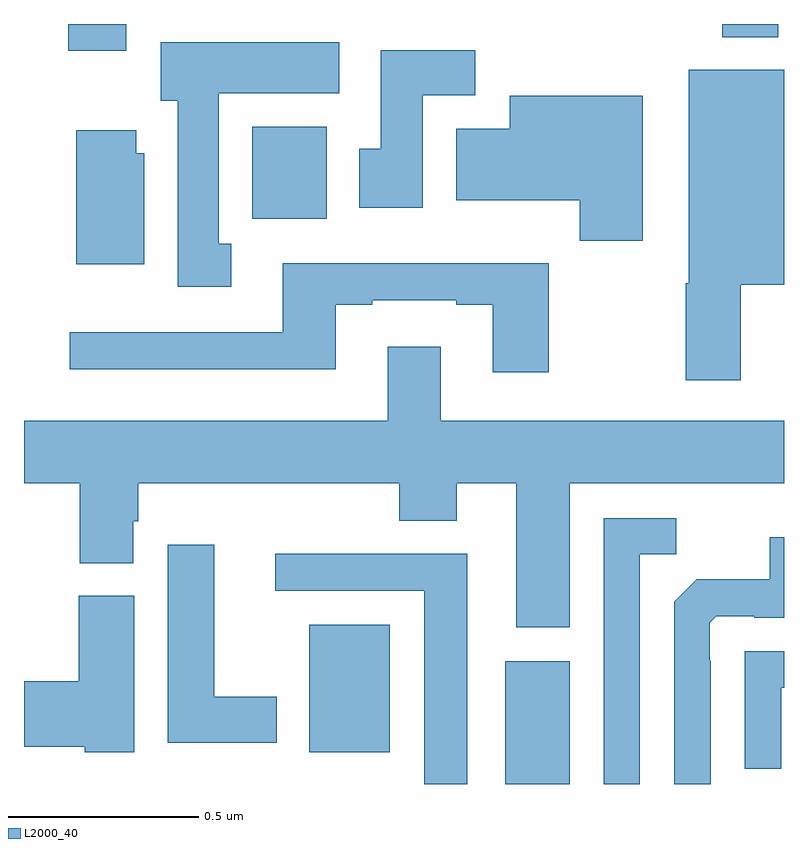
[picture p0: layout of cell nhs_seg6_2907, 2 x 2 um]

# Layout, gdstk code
import gdstk
lib = gdstk.Library(unit=1e-6, precision=1e-09)
def R(c, l, rs):  # rectangles x0, y0, x1, y1
    for r in rs: c.add(gdstk.rectangle(r[:2], r[2:], *l))
def P(c, l, *ps):  # polygons
    for p in ps: c.add(gdstk.Polygon(p, *l))
L2000_40 = (2000, 40)

nhs_seg6_2907 = lib.new_cell('nhs_seg6_2907')
R(nhs_seg6_2907, L2000_40, [(150.266,990.5,150.436,990.823), (149.75,990.584,149.962,990.919), (149.6,991.988,149.797,992.23), (149.117,992.43,149.269,992.5), (150.838,992.465,150.985,992.5)])
P(nhs_seg6_2907, L2000_40, [(149.545,991.922),(149.512,991.922),(149.512,992.318),(149.83,992.318),(149.83,992.452),(149.36,992.452),(149.36,992.298),(149.405,992.298),(149.405,991.809),(149.545,991.809)],
  [(150.049,992.312),(150.188,992.312),(150.188,992.431),(149.939,992.431),(149.939,992.172),(149.882,992.172),(149.882,992.016),(150.049,992.016)],
  [(150.886,991.814),(151,991.814),(151,992.38),(150.749,992.38),(150.749,991.818),(150.742,991.818),(150.742,991.563),(150.886,991.563)],
  [(150.628,992.311),(150.278,992.311),(150.278,992.224),(150.137,992.224),(150.137,992.036),(150.463,992.036),(150.463,991.929),(150.628,991.929)],
  [(149.317,992.16),(149.296,992.16),(149.296,992.221),(149.138,992.221),(149.138,991.868),(149.317,991.868)],
  [(150.381,991.87),(149.681,991.87),(149.681,991.689),(149.121,991.689),(149.121,991.592),(149.821,991.592),(149.821,991.761),(149.917,991.761),(149.917,991.773),(150.137,991.773),(150.137,991.761),(150.233,991.761),(150.233,991.584),(150.381,991.584)],
  [(150.436,991.292),(151,991.292),(151,991.456),(150.097,991.456),(150.097,991.651),(149.957,991.651),(149.957,991.456),(149,991.456),(149,991.292),(149.147,991.292),(149.147,991.081),(149.287,991.081),(149.287,991.191),(149.3,991.191),(149.3,991.292),(149.987,991.292),(149.987,991.193),(150.139,991.193),(150.139,991.292),(150.296,991.292),(150.296,990.912),(150.436,990.912)],
  [(150.621,991.105),(150.717,991.105),(150.717,991.2),(150.525,991.2),(150.525,990.5),(150.621,990.5)],
  [(150.807,990.824),(150.804,990.824),(150.804,990.924),(150.822,990.942),(150.922,990.942),(150.922,990.938),(151,990.938),(151,991.15),(150.962,991.15),(150.962,991.039),(150.77,991.039),(150.711,990.98),(150.711,990.5),(150.807,990.5)],
  [(149.665,990.73),(149.5,990.73),(149.5,991.129),(149.378,991.129),(149.378,990.608),(149.665,990.608)],
  [(150.166,991.106),(149.661,991.106),(149.661,991.008),(150.053,991.008),(150.053,990.5),(150.166,990.5)],
  [(149.29,990.996),(149.144,990.996),(149.144,990.77),(149,990.77),(149,990.598),(149.16,990.598),(149.16,990.584),(149.29,990.584)],
  [(150.993,990.753),(151,990.753),(151,990.849),(150.897,990.849),(150.897,990.54),(150.993,990.54)])

lib.write_gds('nhs_seg6_2907.gds')
